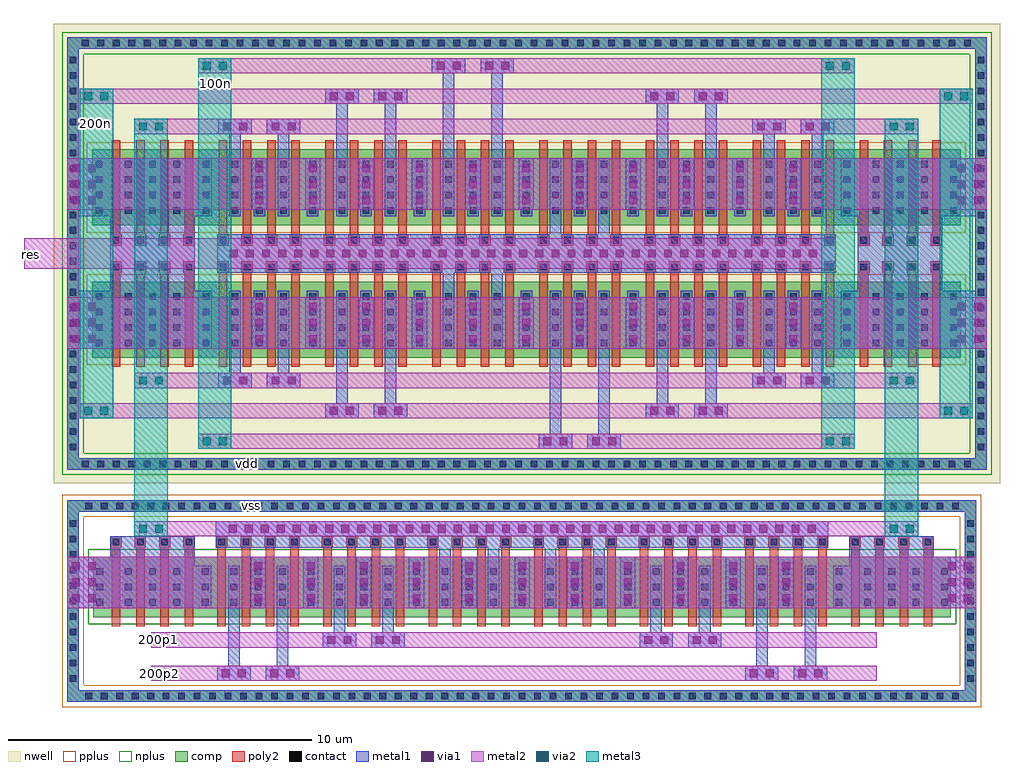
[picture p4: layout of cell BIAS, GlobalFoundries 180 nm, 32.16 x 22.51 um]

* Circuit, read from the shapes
.subckt BIAS 100n 200n 200p1 200p2 res vdd vss
XM1 vss vss vss vss nfet_03v3 w=2u l=0.28u m=8
XM2 200p2 n1 vss vss nfet_03v3 w=2u l=0.28u m=8
XM3 200p1 n1 vss vss nfet_03v3 w=2u l=0.28u m=8
XM4 n1 n1 vss vss nfet_03v3 w=2u l=0.28u m=8
XM5 vdd vdd vdd vdd pfet_03v3 w=2.5u l=0.28u m=16
XM6 n1 res vdd vdd pfet_03v3 w=2.5u l=0.28u m=16
XM7 200n res vdd vdd pfet_03v3 w=2.5u l=0.28u m=16
XM8 res res vdd vdd pfet_03v3 w=2.5u l=0.28u m=8
XM9 100n res vdd vdd pfet_03v3 w=2.5u l=0.28u m=8
.ends

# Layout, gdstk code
import gdstk
lib = gdstk.Library(unit=1e-6, precision=1e-09)
def R(c, l, rs):  # rectangles x0, y0, x1, y1
    for r in rs: c.add(gdstk.rectangle(r[:2], r[2:], *l))
def A(c, l, x, y, w, h, nx, ny, dx, dy):  # array of equal rectangles
    R(c, l, [(x+i*dx, y+j*dy, x+i*dx+w, y+j*dy+h) for i in range(nx) for j in range(ny)])
nwell = (21, 0)
comp = (22, 0)
poly2 = (30, 0)
pplus = (31, 0)
nplus = (32, 0)
contact = (33, 0)
metal1 = (34, 0)
via1 = (35, 0)
metal2 = (36, 0)
via2 = (38, 0)
metal3 = (42, 0)

pfet_279 = lib.new_cell('pfet$279')
R(pfet_279, nwell, [(-0.9,-0.44,3.96,2.94)])
R(pfet_279, comp, [(-0.46,0,0,2.5), (0,0,3.06,2.5), (3.06,0,3.52,2.5)])
A(pfet_279, poly2, 0.19, -0.3, 0.28, 3.1, 4, 1, 0.8, 0)
A(pfet_279, poly2, 0.14, 2.8, 0.38, 0.38, 4, 1, 0.8, 0)
R(pfet_279, pplus, [(-0.63,-0.24,3.69,2.74)])
A(pfet_279, contact, -0.34, 0.375, 0.22, 0.22, 1, 4, 0, 0.51)
A(pfet_279, contact, 0.62, 0.375, 0.22, 0.22, 3, 4, 0.8, 0.51)
A(pfet_279, contact, 3.18, 0.375, 0.22, 0.22, 1, 4, 0, 0.51)
A(pfet_279, contact, 0.22, 2.88, 0.22, 0.22, 4, 1, 0.8, 0)
A(pfet_279, metal1, 0.54, 0.295, 0.38, 1.91, 3, 1, 0.8, 0)
A(pfet_279, metal1, 0.14, 2.8, 0.38, 0.38, 4, 1, 0.8, 0)
R(pfet_279, metal1, [(-0.42,0.295,-0.04,2.205), (3.1,0.295,3.48,2.205)])

nfet_299 = lib.new_cell('nfet$299')
R(nfet_299, comp, [(-0.42,0,0,2), (0,0,3.06,2), (3.06,0,3.48,2)])
A(nfet_299, poly2, 0.15, -0.66, 0.36, 0.36, 4, 1, 0.8, 0)
A(nfet_299, poly2, 0.19, -0.3, 0.28, 2.6, 4, 1, 0.8, 0)
R(nfet_299, nplus, [(-0.59,-0.24,3.65,2.24)])
A(nfet_299, contact, 0.22, -0.59, 0.22, 0.22, 4, 1, 0.8, 0)
A(nfet_299, contact, -0.32, 0.38, 0.22, 0.22, 1, 3, 0, 0.51)
A(nfet_299, contact, 0.62, 0.38, 0.22, 0.22, 3, 3, 0.8, 0.51)
A(nfet_299, contact, 3.16, 0.38, 0.22, 0.22, 1, 3, 0, 0.51)
A(nfet_299, metal1, 0.14, -0.67, 0.38, 0.38, 4, 1, 0.8, 0)
A(nfet_299, metal1, 0.54, 0.3, 0.38, 1.4, 3, 1, 0.8, 0)
R(nfet_299, metal1, [(-0.4,0.3,-0.02,1.7), (3.08,0.3,3.46,1.7)])

via_dev_876 = lib.new_cell('via_dev$876')
R(via_dev_876, metal1, [(0,0,19.7,0.5)])
A(via_dev_876, via1, 0.18, 0.12, 0.26, 0.26, 37, 1, 0.53, 0)
R(via_dev_876, metal2, [(0,0,19.7,0.5)])

via_dev_877 = lib.new_cell('via_dev$877')
R(via_dev_877, metal1, [(0,0,0.5,1.7)])
A(via_dev_877, via1, 0.12, 0.19, 0.26, 0.26, 1, 3, 0, 0.53)
R(via_dev_877, metal2, [(0,0,0.5,1.7)])

via_dev_878 = lib.new_cell('via_dev$878')
R(via_dev_878, metal1, [(0,0,1.1,0.5)])
R(via_dev_878, via1, [(0.155,0.12,0.415,0.38), (0.685,0.12,0.945,0.38)])
R(via_dev_878, metal2, [(0,0,1.1,0.5)])

via_dev_879 = lib.new_cell('via_dev$879')
R(via_dev_879, metal2, [(0,0,1.1,0.5)])
R(via_dev_879, via2, [(0.155,0.12,0.415,0.38), (0.685,0.12,0.945,0.38)])
R(via_dev_879, metal3, [(0,0,1.1,0.5)])

via_dev_880 = lib.new_cell('via_dev$880')
R(via_dev_880, metal1, [(0,0,1.1,1.7)])
A(via_dev_880, via1, 0.155, 0.19, 0.26, 0.26, 1, 3, 0, 0.53)
A(via_dev_880, via1, 0.685, 0.19, 0.26, 0.26, 1, 3, 0, 0.53)
R(via_dev_880, metal2, [(0,0,1.1,1.7)])

bias = lib.new_cell('BIAS')
R(bias, nwell, [(-5.205,-5.365,25.975,9.765)])
R(bias, pplus, [(-4.935,-12.745,-4.215,-5.755), (-4.215,-12.745,24.645,-12.025), (24.645,-12.745,25.365,-5.755), (-4.215,-6.475,24.645,-5.755)])
R(bias, nplus, [(-4.935,-5.095,-4.215,9.495), (-4.215,-5.095,25.705,-4.375), (24.985,-5.095,25.705,9.495), (-4.215,8.775,25.705,9.495)])
A(bias, contact, -4.165, -12.495, 0.22, 0.22, 57, 2, 0.51, 6.27)
A(bias, contact, -4.685, -11.91, 0.22, 0.22, 1, 11, 0, 0.51)
A(bias, contact, 24.895, -11.91, 0.22, 0.22, 1, 11, 0, 0.51)
A(bias, contact, -4.28, -4.845, 0.22, 0.22, 58, 2, 0.51, 13.87)
A(bias, contact, -4.685, -4.285, 0.22, 0.22, 1, 26, 0, 0.51)
A(bias, contact, 25.235, -4.285, 0.22, 0.22, 1, 26, 0, 0.51)
R(bias, metal1, [(-4.765,-12.575,-4.385,-5.925), (-4.385,-12.575,25.195,-12.195), (24.815,-12.195,25.195,-5.925), (0.535,-11.385,0.915,-9.485), (2.135,-11.385,2.515,-9.485), (17.935,-11.385,18.315,-9.485), (19.535,-11.385,19.915,-9.485), (4.015,-10.285,4.395,-9.485), (5.615,-10.285,5.995,-9.485), (14.455,-10.285,14.835,-9.485), (16.055,-10.285,16.435,-9.485), (-4.385,-9.485,-0.405,-8.085), (20.855,-9.485,24.815,-8.085), (-3.665,-8.085,-3.345,-7.785), (-3.345,-8.085,-0.565,-7.495), (7.495,-8.085,7.875,-7.49), (9.095,-8.085,9.475,-7.49), (10.975,-8.085,11.355,-7.49), (12.575,-8.085,12.955,-7.49), (21.015,-8.085,23.795,-7.495), (23.795,-8.085,24.095,-7.785), (-2.965,-7.495,-0.945,-7.115), (0.515,-7.495,19.935,-7.115), (21.395,-7.495,23.415,-7.115), (0.135,-7.115,0.375,-6.615), (20.075,-7.115,20.315,-6.615), (-4.385,-6.305,24.815,-5.925), (-4.765,-4.925,-4.385,9.325), (-4.385,-4.925,25.535,-4.545), (25.155,-4.545,25.535,9.325), (11.135,-3.735,11.515,-0.935), (12.735,-3.735,13.115,-0.935), (4.095,-2.835,4.475,-0.935), (5.695,-2.835,6.075,-0.935), (14.655,-2.835,15.035,-0.935), (16.255,-2.835,16.635,-0.935), (0.575,-1.735,0.955,-0.935), (2.175,-1.735,2.555,-0.935), (18.175,-1.735,18.555,-0.935), (19.775,-1.735,20.155,-0.935), (-4.385,-0.935,-0.385,0.975), (21.115,-0.935,25.155,0.975), (-3.345,0.975,-0.565,3.425), (7.615,0.975,7.995,1.57), (9.215,0.975,9.595,1.57), (21.295,0.975,24.075,1.57), (0.555,1.57,20.175,1.95), (21.295,1.57,24.075,3.425), (0.175,1.95,20.555,2.45), (0.555,2.45,20.175,2.83), (11.135,2.83,11.515,3.425), (12.735,2.83,13.115,3.425), (-4.385,3.425,-0.385,5.335), (21.115,3.425,25.155,5.335), (0.575,5.335,0.955,6.135), (2.175,5.335,2.555,6.135), (4.095,5.335,4.475,7.235), (5.695,5.335,6.075,7.235), (7.615,5.335,7.995,8.135), (9.215,5.335,9.595,8.135), (14.655,5.335,15.035,7.235), (16.255,5.335,16.635,7.235), (18.175,5.335,18.555,6.135), (19.775,5.335,20.155,6.135), (-4.385,8.945,25.155,9.325)])
R(bias, metal2, [(-1.99,-11.885,21.905,-11.385), (-2,-10.785,21.905,-10.285), (-4.765,-9.485,25.195,-7.785), (-2.41,-7.115,23.115,-6.615), (-0.455,-4.235,21.185,-3.735), (-3.655,-3.235,25.085,-2.735), (-2.555,-2.235,23.285,-1.735), (-4.765,-0.935,25.535,0.765), (-6.19,1.7,20.555,2.7), (-4.765,3.635,25.535,5.335), (-2.39,6.135,23.285,6.635), (-3.6,7.135,24.92,7.635), (-0.31,8.135,21.185,8.635)])
R(bias, metal3, [(-2.555,-7.115,-1.455,6.135), (22.185,-7.115,23.285,6.135), (-0.455,-4.235,0.645,8.635), (20.085,-4.235,21.185,8.635), (-4.355,-3.235,-3.255,7.635), (23.985,-3.235,25.085,7.635)])
bias.add(gdstk.FlexPath([(-4.575,-5.925),(-4.575,-12.385),(25.195,-12.385)], 0.38, ends="flush", simple_path=True, layer=22, datatype=0))  # comp
bias.add(gdstk.FlexPath([(-4.385,-6.115),(25.195,-6.115)], 0.38, ends="flush", simple_path=True, layer=22, datatype=0))  # comp
bias.add(gdstk.FlexPath([(25.005,-6.105),(25.005,-12.4)], 0.38, ends="flush", simple_path=True, layer=22, datatype=0))  # comp
bias.add(gdstk.FlexPath([(-4.575,9.015),(-4.575,-4.735),(25.345,-4.735),(25.345,9.135),(-4.765,9.135)], 0.38, ends="flush", simple_path=True, layer=22, datatype=0))  # comp
bias.add(gdstk.Reference(pfet_279, (0.035,-1.23)))
bias.add(gdstk.Reference(pfet_279, (3.555,-1.23)))
bias.add(gdstk.Reference(pfet_279, (7.075,-1.23)))
bias.add(gdstk.Reference(pfet_279, (10.595,-1.23)))
bias.add(gdstk.Reference(pfet_279, (14.115,-1.23)))
bias.add(gdstk.Reference(pfet_279, (17.635,-1.23)))
bias.add(gdstk.Reference(nfet_299, (6.955,-7.785), x_reflection=True))
bias.add(gdstk.Reference(nfet_299, (10.435,-7.785), x_reflection=True))
bias.add(gdstk.Reference(pfet_279, (7.075,5.63), x_reflection=True))
bias.add(gdstk.Reference(pfet_279, (10.595,5.63), x_reflection=True))
bias.add(gdstk.Reference(via_dev_876, (0.375,-6.615), x_reflection=True))
bias.add(gdstk.Reference(via_dev_876, (0.415,2.45), x_reflection=True))
bias.add(gdstk.Reference(pfet_279, (-3.485,-1.23)))
bias.add(gdstk.Reference(pfet_279, (21.155,-1.23)))
bias.add(gdstk.Reference(via_dev_877, (10.115,3.635)))
bias.add(gdstk.Reference(via_dev_877, (10.115,-0.935)))
bias.add(gdstk.Reference(via_dev_877, (9.975,-9.485)))
bias.add(gdstk.Reference(via_dev_878, (15.895,7.135)))
bias.add(gdstk.Reference(via_dev_879, (22.185,6.635), x_reflection=True))
bias.add(gdstk.Reference(via_dev_879, (23.985,7.635), x_reflection=True))
bias.add(gdstk.Reference(via_dev_879, (20.085,8.635), x_reflection=True))
bias.add(gdstk.Reference(pfet_279, (14.115,5.63), x_reflection=True))
bias.add(gdstk.Reference(pfet_279, (21.155,5.63), x_reflection=True))
bias.add(gdstk.Reference(via_dev_878, (17.815,6.135)))
bias.add(gdstk.Reference(via_dev_878, (19.415,6.135)))
bias.add(gdstk.Reference(via_dev_877, (11.875,3.635)))
bias.add(gdstk.Reference(via_dev_877, (13.635,3.635)))
bias.add(gdstk.Reference(via_dev_877, (15.395,3.635)))
bias.add(gdstk.Reference(via_dev_877, (17.155,3.635)))
bias.add(gdstk.Reference(via_dev_877, (18.915,3.635)))
bias.add(gdstk.Reference(pfet_279, (17.635,5.63), x_reflection=True))
bias.add(gdstk.Reference(via_dev_877, (11.875,-0.935)))
bias.add(gdstk.Reference(via_dev_877, (13.635,-0.935)))
bias.add(gdstk.Reference(via_dev_877, (15.395,-0.935)))
bias.add(gdstk.Reference(via_dev_877, (17.155,-0.935)))
bias.add(gdstk.Reference(via_dev_877, (18.915,-0.935)))
bias.add(gdstk.Reference(via_dev_880, (24.435,-0.935)))
bias.add(gdstk.Reference(via_dev_880, (24.435,3.635)))
bias.add(gdstk.Reference(via_dev_878, (14.295,7.135)))
bias.add(gdstk.Reference(via_dev_877, (6.595,3.635)))
bias.add(gdstk.Reference(via_dev_877, (8.355,3.635)))
bias.add(gdstk.Reference(via_dev_878, (8.855,8.135)))
bias.add(gdstk.Reference(via_dev_878, (7.255,8.135)))
bias.add(gdstk.Reference(pfet_279, (0.035,5.63), x_reflection=True))
bias.add(gdstk.Reference(via_dev_879, (-2.555,6.635), x_reflection=True))
bias.add(gdstk.Reference(via_dev_879, (-4.355,7.635), x_reflection=True))
bias.add(gdstk.Reference(via_dev_878, (0.215,6.135)))
bias.add(gdstk.Reference(via_dev_877, (1.315,-0.935)))
bias.add(gdstk.Reference(via_dev_877, (3.075,-0.935)))
bias.add(gdstk.Reference(via_dev_877, (4.835,-0.935)))
bias.add(gdstk.Reference(via_dev_877, (6.595,-0.935)))
bias.add(gdstk.Reference(via_dev_877, (8.355,-0.935)))
bias.add(gdstk.Reference(via_dev_879, (-0.455,8.635), x_reflection=True))
bias.add(gdstk.Reference(via_dev_878, (5.335,7.135)))
bias.add(gdstk.Reference(pfet_279, (-3.485,5.63), x_reflection=True))
bias.add(gdstk.Reference(via_dev_878, (1.815,6.135)))
bias.add(gdstk.Reference(pfet_279, (3.555,5.63), x_reflection=True))
bias.add(gdstk.Reference(via_dev_878, (3.735,7.135)))
bias.add(gdstk.Reference(via_dev_880, (-4.765,3.635)))
bias.add(gdstk.Reference(via_dev_880, (-4.765,-0.935)))
bias.add(gdstk.Reference(via_dev_877, (1.315,3.635)))
bias.add(gdstk.Reference(via_dev_877, (3.075,3.635)))
bias.add(gdstk.Reference(via_dev_877, (4.835,3.635)))
bias.add(gdstk.Reference(via_dev_878, (0.175,-11.385), x_reflection=True))
bias.add(gdstk.Reference(via_dev_878, (1.775,-11.385), x_reflection=True))
bias.add(gdstk.Reference(via_dev_879, (-2.555,-1.735), x_reflection=True))
bias.add(gdstk.Reference(nfet_299, (3.475,-7.785), x_reflection=True))
bias.add(gdstk.Reference(via_dev_879, (-2.555,-6.615), x_reflection=True))
bias.add(gdstk.Reference(via_dev_878, (0.215,-1.735), x_reflection=True))
bias.add(gdstk.Reference(via_dev_878, (1.815,-1.735), x_reflection=True))
bias.add(gdstk.Reference(via_dev_879, (-4.355,-2.735), x_reflection=True))
bias.add(gdstk.Reference(via_dev_878, (3.655,-10.285), x_reflection=True))
bias.add(gdstk.Reference(via_dev_879, (-0.455,-3.735), x_reflection=True))
bias.add(gdstk.Reference(via_dev_878, (3.735,-2.735), x_reflection=True))
bias.add(gdstk.Reference(via_dev_878, (5.335,-2.735), x_reflection=True))
bias.add(gdstk.Reference(nfet_299, (-0.005,-7.785), x_reflection=True))
bias.add(gdstk.Reference(nfet_299, (-3.485,-7.785), x_reflection=True))
bias.add(gdstk.Reference(via_dev_877, (1.275,-9.485)))
bias.add(gdstk.Reference(via_dev_877, (3.015,-9.485)))
bias.add(gdstk.Reference(via_dev_877, (4.755,-9.485)))
bias.add(gdstk.Reference(via_dev_877, (6.495,-9.485)))
bias.add(gdstk.Reference(via_dev_877, (8.235,-9.485)))
bias.add(gdstk.Reference(via_dev_878, (5.255,-10.285), x_reflection=True))
bias.add(gdstk.Reference(via_dev_880, (-4.765,-9.485)))
bias.add(gdstk.Reference(via_dev_878, (19.415,-1.735), x_reflection=True))
bias.add(gdstk.Reference(nfet_299, (17.395,-7.785), x_reflection=True))
bias.add(gdstk.Reference(via_dev_878, (17.575,-11.385), x_reflection=True))
bias.add(gdstk.Reference(via_dev_878, (14.295,-2.735), x_reflection=True))
bias.add(gdstk.Reference(via_dev_879, (22.185,-1.735), x_reflection=True))
bias.add(gdstk.Reference(via_dev_879, (23.985,-2.735), x_reflection=True))
bias.add(gdstk.Reference(via_dev_878, (15.895,-2.735), x_reflection=True))
bias.add(gdstk.Reference(via_dev_878, (19.175,-11.385), x_reflection=True))
bias.add(gdstk.Reference(via_dev_878, (14.095,-10.285), x_reflection=True))
bias.add(gdstk.Reference(via_dev_878, (15.695,-10.285), x_reflection=True))
bias.add(gdstk.Reference(via_dev_879, (20.085,-3.735), x_reflection=True))
bias.add(gdstk.Reference(via_dev_878, (12.375,-3.735), x_reflection=True))
bias.add(gdstk.Reference(via_dev_878, (10.775,-3.735), x_reflection=True))
bias.add(gdstk.Reference(nfet_299, (20.875,-7.785), x_reflection=True))
bias.add(gdstk.Reference(nfet_299, (13.915,-7.785), x_reflection=True))
bias.add(gdstk.Reference(via_dev_878, (17.815,-1.735), x_reflection=True))
bias.add(gdstk.Reference(via_dev_877, (11.715,-9.485)))
bias.add(gdstk.Reference(via_dev_877, (13.455,-9.485)))
bias.add(gdstk.Reference(via_dev_877, (15.195,-9.485)))
bias.add(gdstk.Reference(via_dev_877, (16.935,-9.485)))
bias.add(gdstk.Reference(via_dev_877, (18.675,-9.485)))
bias.add(gdstk.Reference(via_dev_880, (24.095,-9.485)))
bias.add(gdstk.Reference(via_dev_879, (22.185,-6.615), x_reflection=True))
bias.add(gdstk.Label('vdd', (1.18,-4.735), layer=34, texttype=10))
bias.add(gdstk.Label('vss', (1.295,-6.115), layer=34, texttype=10))
bias.add(gdstk.Label('res', (-5.97,2.165), layer=36, texttype=10))
bias.add(gdstk.Label('200p1', (-1.745,-10.535), layer=36, texttype=10))
bias.add(gdstk.Label('200p2', (-1.74,-11.655), layer=36, texttype=10))
bias.add(gdstk.Label('100n', (0.11,7.82), layer=42, texttype=10))
bias.add(gdstk.Label('200n', (-3.82,6.48), layer=42, texttype=10))

lib.write_gds('BIAS.gds')
